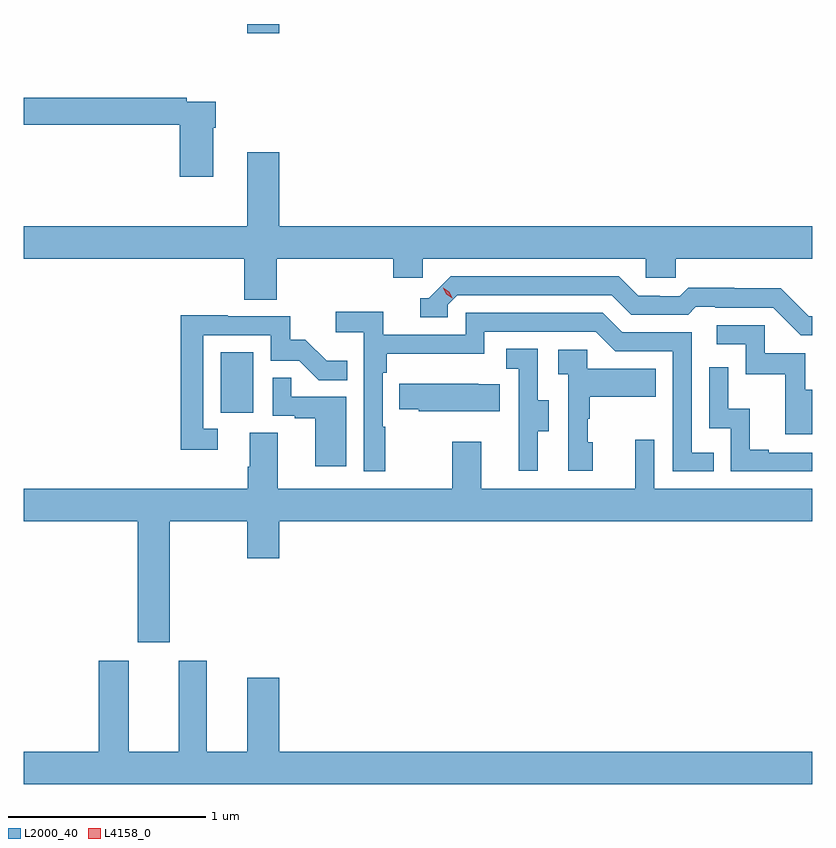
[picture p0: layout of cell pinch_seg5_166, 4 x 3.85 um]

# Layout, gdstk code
import gdstk
lib = gdstk.Library(unit=1e-6, precision=1e-09)
def R(c, l, rs):  # rectangles x0, y0, x1, y1
    for r in rs: c.add(gdstk.rectangle(r[:2], r[2:], *l))
def P(c, l, *ps):  # polygons
    for p in ps: c.add(gdstk.Polygon(p, *l))
L2000_40 = (2000, 40)
L4158_0 = (4158, 0)

pinch_seg5_166 = lib.new_cell('pinch_seg5_166')
R(pinch_seg5_166, L2000_40, [(1099.94,881.286,1100.104,881.593), (1100.072,883.212,1100.236,883.258)])
P(pinch_seg5_166, L2000_40, [(1099.9,882.731),(1099.913,882.731),(1099.913,882.864),(1099.766,882.864),(1099.766,882.884),(1098.939,882.884),(1098.939,882.748),(1099.73,882.748),(1099.73,882.483),(1099.9,882.483)],
  [(1100.222,882.068),(1100.813,882.068),(1100.813,881.97),(1100.964,881.97),(1100.964,882.068),(1102.095,882.068),(1102.095,881.97),(1102.245,881.97),(1102.245,882.068),(1102.939,882.068),(1102.939,882.232),(1100.236,882.232),(1100.236,882.607),(1100.072,882.607),(1100.072,882.232),(1098.939,882.232),(1098.939,882.068),(1100.057,882.068),(1100.057,881.86),(1100.222,881.86)],
  [(1102.939,881.775),(1102.92,881.775),(1102.778,881.917),(1102.542,881.917),(1102.542,881.92),(1102.309,881.92),(1102.267,881.877),(1102.164,881.877),(1102.164,881.88),(1102.057,881.88),(1101.958,881.979),(1101.105,881.979),(1100.994,881.868),(1100.951,881.868),(1100.951,881.772),(1101.09,881.772),(1101.09,881.835),(1101.138,881.883),(1101.921,881.883),(1102.02,881.784),(1102.309,881.784),(1102.348,881.823),(1102.447,881.823),(1102.447,881.82),(1102.74,881.82),(1102.881,881.679),(1102.939,881.679)],
  [(1100.773,881.216),(1100.76,881.216),(1100.76,881.489),(1100.78,881.489),(1100.78,881.585),(1101.276,881.585),(1101.276,881.697),(1101.84,881.697),(1101.939,881.598),(1102.23,881.598),(1102.23,880.989),(1102.439,880.989),(1102.439,881.085),(1102.326,881.085),(1102.326,881.694),(1101.976,881.694),(1101.877,881.793),(1101.18,881.793),(1101.18,881.682),(1100.762,881.682),(1100.762,881.798),(1100.523,881.798),(1100.523,881.696),(1100.664,881.696),(1100.664,880.989),(1100.773,880.989)],
  [(1099.924,881.205),(1099.851,881.205),(1099.851,881.679),(1100.193,881.679),(1100.193,881.55),(1100.337,881.55),(1100.435,881.452),(1100.579,881.452),(1100.579,881.551),(1100.475,881.551),(1100.368,881.658),(1100.292,881.658),(1100.292,881.775),(1099.973,881.775),(1099.973,881.78),(1099.735,881.78),(1099.735,881.1),(1099.924,881.1)],
  [(1102.939,881.403),(1102.903,881.403),(1102.903,881.589),(1102.698,881.589),(1102.698,881.73),(1102.455,881.73),(1102.455,881.634),(1102.602,881.634),(1102.602,881.481),(1102.801,881.481),(1102.801,881.178),(1102.939,881.178)],
  [(1101.547,881.194),(1101.601,881.194),(1101.601,881.349),(1101.546,881.349),(1101.546,881.612),(1101.387,881.612),(1101.387,881.509),(1101.45,881.509),(1101.45,881.205),(1101.449,881.205),(1101.449,880.992),(1101.547,880.992)],
  [(1101.826,881.136),(1101.801,881.136),(1101.801,881.255),(1101.811,881.255),(1101.811,881.369),(1102.145,881.369),(1102.145,881.509),(1101.798,881.509),(1101.798,881.607),(1101.651,881.607),(1101.651,881.483),(1101.702,881.483),(1101.702,880.992),(1101.826,880.992)],
  [(1102.939,881.085),(1102.717,881.085),(1102.717,881.098),(1102.622,881.098),(1102.622,881.306),(1102.512,881.306),(1102.512,881.518),(1102.416,881.518),(1102.416,881.208),(1102.524,881.208),(1102.524,880.989),(1102.939,880.989)],
  [(1100.575,881.367),(1100.297,881.367),(1100.297,881.465),(1100.202,881.465),(1100.202,881.271),(1100.313,881.271),(1100.313,881.259),(1100.417,881.259),(1100.417,881.016),(1100.575,881.016)],
  [(1101.353,881.431),(1101.245,881.431),(1101.245,881.434),(1100.845,881.434),(1100.845,881.305),(1100.943,881.305),(1100.943,881.294),(1101.353,881.294)],
  [(1099.681,880.736),(1100.072,880.736),(1100.072,880.548),(1100.236,880.548),(1100.236,880.736),(1102.939,880.736),(1102.939,880.9),(1102.137,880.9),(1102.137,881.149),(1102.04,881.149),(1102.04,880.9),(1101.259,880.9),(1101.259,881.14),(1101.112,881.14),(1101.112,880.9),(1100.227,880.9),(1100.227,881.186),(1100.087,881.186),(1100.087,881.012),(1100.075,881.012),(1100.075,880.9),(1098.939,880.9),(1098.939,880.736),(1099.517,880.736),(1099.517,880.122),(1099.681,880.122)],
  [(1102.939,879.568),(1100.236,879.568),(1100.236,879.943),(1100.072,879.943),(1100.072,879.568),(1099.867,879.568),(1099.867,880.03),(1099.727,880.03),(1099.727,879.568),(1099.471,879.568),(1099.471,880.03),(1099.319,880.03),(1099.319,879.568),(1098.939,879.568),(1098.939,879.404),(1102.939,879.404)])
P(pinch_seg5_166, L4158_0, [(1101.113,881.868),(1101.082,881.887),(1101.066,881.92),(1101.066,881.92),(1101.066,881.92),(1101.097,881.901),(1101.113,881.868),(1101.113,881.868)])

lib.write_gds('pinch_seg5_166.gds')
